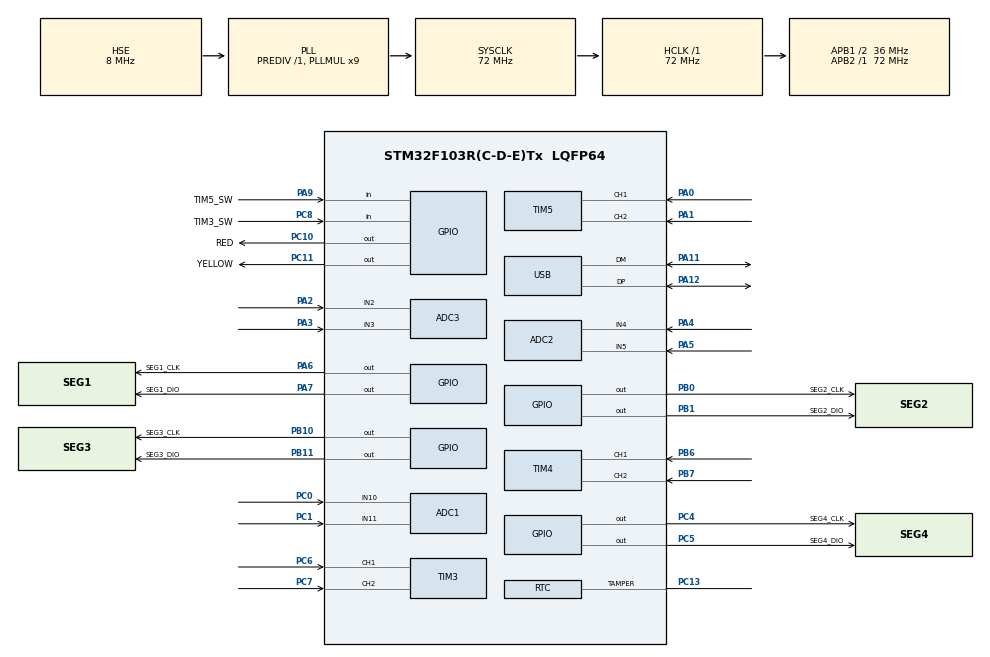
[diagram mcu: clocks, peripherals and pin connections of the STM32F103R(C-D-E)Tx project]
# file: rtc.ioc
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ADC1.Channel-1\#ChannelRegularConversion=ADC_CHANNEL_10
ADC1.ContinuousConvMode=ENABLE
ADC1.NbrOfConversion=1
ADC1.NbrOfConversionFlag=1
ADC1.Rank-1\#ChannelRegularConversion=1
ADC1.SamplingTime-1\#ChannelRegularConversion=ADC_SAMPLETIME_71CYCLES_5
ADC1.master=1
ADC2.Channel-3\#ChannelRegularConversion=ADC_CHANNEL_4
ADC2.NbrOfConversionFlag=1
ADC2.Rank-3\#ChannelRegularConversion=1
ADC2.SamplingTime-3\#ChannelRegularConversion=ADC_SAMPLETIME_1CYCLE_5
ADC3.Channel-3\#ChannelRegularConversion=ADC_CHANNEL_2
ADC3.NbrOfConversionFlag=1
ADC3.Rank-3\#ChannelRegularConversion=1
ADC3.SamplingTime-3\#ChannelRegularConversion=ADC_SAMPLETIME_1CYCLE_5
Mcu.Family=STM32F1
Mcu.Name=STM32F103R(C-D-E)Tx
Mcu.Package=LQFP64
NVIC.PriorityGroup=NVIC_PRIORITYGROUP_4
NVIC.RTC_IRQn=true\:0\:0\:false\:false\:true\:true\:true
NVIC.TIM3_IRQn=true\:0\:0\:false\:false\:true\:true\:true
NVIC.TIM4_IRQn=true\:0\:0\:false\:false\:true\:true\:true
NVIC.USB_LP_CAN1_RX0_IRQn=true\:0\:0\:false\:false\:true\:false\:true
PA0-WKUP.Signal=S_TIM5_CH1
PA1.Signal=S_TIM5_CH2
PA11.Mode=Device
PA11.Signal=USB_DM
PA12.Mode=Device
PA12.Signal=USB_DP
PA13.Mode=Trace_Asynchronous_SW
PA13.Signal=SYS_JTMS-SWDIO
PA14.Mode=Trace_Asynchronous_SW
PA14.Signal=SYS_JTCK-SWCLK
PA2.Signal=ADCx_IN2
PA3.Signal=ADCx_IN3
PA4.Signal=ADCx_IN4
PA5.Signal=ADCx_IN5
PA6.GPIO_Label=SEG1_CLK
PA6.GPIO_ModeDefaultOutputPP=GPIO_MODE_OUTPUT_OD
PA6.GPIO_PuPd=GPIO_PULLUP
PA6.GPIO_Speed=GPIO_SPEED_FREQ_HIGH
PA6.Signal=GPIO_Output
PA7.GPIO_Label=SEG1_DIO
PA7.GPIO_ModeDefaultOutputPP=GPIO_MODE_OUTPUT_OD
PA7.GPIO_PuPd=GPIO_PULLUP
PA7.GPIO_Speed=GPIO_SPEED_FREQ_HIGH
PA7.Signal=GPIO_Output
PA9.GPIO_Label=TIM5_SW
PA9.GPIO_PuPd=GPIO_PULLUP
PA9.Signal=GPIO_Input
PB0.GPIO_Label=SEG2_CLK
PB0.GPIO_ModeDefaultOutputPP=GPIO_MODE_OUTPUT_OD
PB0.GPIO_PuPd=GPIO_PULLUP
PB0.GPIO_Speed=GPIO_SPEED_FREQ_HIGH
PB0.Signal=GPIO_Output
PB1.GPIO_Label=SEG2_DIO
PB1.GPIO_ModeDefaultOutputPP=GPIO_MODE_OUTPUT_OD
PB1.GPIO_PuPd=GPIO_PULLUP
PB1.GPIO_Speed=GPIO_SPEED_FREQ_HIGH
PB1.Signal=GPIO_Output
PB10.GPIO_Label=SEG3_CLK
PB10.GPIO_ModeDefaultOutputPP=GPIO_MODE_OUTPUT_OD
PB10.GPIO_PuPd=GPIO_PULLUP
PB10.GPIO_Speed=GPIO_SPEED_FREQ_HIGH
PB10.Signal=GPIO_Output
PB11.GPIO_Label=SEG3_DIO
PB11.GPIO_ModeDefaultOutputPP=GPIO_MODE_OUTPUT_OD
PB11.GPIO_PuPd=GPIO_PULLUP
PB11.GPIO_Speed=GPIO_SPEED_FREQ_HIGH
PB11.Signal=GPIO_Output
PB3.Mode=Trace_Asynchronous_SW
PB3.Signal=SYS_JTDO-TRACESWO
PB6.Signal=S_TIM4_CH1
PB7.Signal=S_TIM4_CH2
PC0.Signal=ADCx_IN10
PC1.Signal=ADCx_IN11
PC10.GPIO_Label=RED
PC10.GPIO_PuPd=GPIO_PULLUP
PC10.Signal=GPIO_Output
PC11.GPIO_Label=YELLOW
PC11.GPIO_PuPd=GPIO_PULLUP
PC11.Signal=GPIO_Output
PC13-TAMPER-RTC.Mode=Tamper
PC13-TAMPER-RTC.Signal=RTC_TAMPER
PC14-OSC32_IN.Mode=LSE-External-Oscillator
PC14-OSC32_IN.Signal=RCC_OSC32_IN
PC15-OSC32_OUT.Mode=LSE-External-Oscillator
PC15-OSC32_OUT.Signal=RCC_OSC32_OUT
PC4.GPIO_Label=SEG4_CLK
PC4.GPIO_ModeDefaultOutputPP=GPIO_MODE_OUTPUT_OD
PC4.GPIO_PuPd=GPIO_PULLUP
PC4.GPIO_Speed=GPIO_SPEED_FREQ_HIGH
PC4.Signal=GPIO_Output
PC5.GPIO_Label=SEG4_DIO
PC5.GPIO_ModeDefaultOutputPP=GPIO_MODE_OUTPUT_OD
PC5.GPIO_PuPd=GPIO_PULLUP
PC5.GPIO_Speed=GPIO_SPEED_FREQ_HIGH
PC5.Signal=GPIO_Output
PC6.Signal=S_TIM3_CH1
PC7.Signal=S_TIM3_CH2
PC8.GPIO_Label=TIM3_SW
PC8.GPIO_PuPd=GPIO_PULLUP
PC8.Signal=GPIO_Input
PD0-OSC_IN.Mode=HSE-External-Oscillator
PD0-OSC_IN.Signal=RCC_OSC_IN
PD1-OSC_OUT.Mode=HSE-External-Oscillator
PD1-OSC_OUT.Signal=RCC_OSC_OUT
ProjectManager.HeapSize=0x200
ProjectManager.StackSize=0x400
ProjectManager.TargetToolchain=Makefile
RCC.ADCPresc=RCC_ADCPCLK2_DIV8
RCC.AHBFreq_Value=72000000
RCC.APB1CLKDivider=RCC_HCLK_DIV2
RCC.APB1Freq_Value=36000000
RCC.APB1TimFreq_Value=72000000
RCC.APB2Freq_Value=72000000
RCC.APB2TimFreq_Value=72000000
RCC.HCLKFreq_Value=72000000
RCC.PLLMUL=RCC_PLL_MUL9
RCC.PLLSourceVirtual=RCC_PLLSOURCE_HSE
RCC.SYSCLKFreq_VALUE=72000000
RCC.SYSCLKSource=RCC_SYSCLKSOURCE_PLLCLK
RCC.USBFreq_Value=48000000
RCC.USBPrescaler=RCC_USBCLKSOURCE_PLL_DIV1_5
RTC.Format=RTC_FORMAT_BIN
SH.ADCx_IN10.0=ADC1_IN10,IN10
SH.ADCx_IN11.0=ADC1_IN11,IN11
SH.ADCx_IN2.0=ADC3_IN2,IN2
SH.ADCx_IN3.0=ADC3_IN3,IN3
SH.ADCx_IN4.0=ADC2_IN4,IN4
SH.ADCx_IN5.0=ADC2_IN5,IN5
SH.S_TIM3_CH1.0=TIM3_CH1,Encoder_Interface
SH.S_TIM3_CH2.0=TIM3_CH2,Encoder_Interface
SH.S_TIM4_CH1.0=TIM4_CH1,Encoder_Interface
SH.S_TIM4_CH2.0=TIM4_CH2,Encoder_Interface
SH.S_TIM5_CH1.0=TIM5_CH1,Encoder_Interface
SH.S_TIM5_CH2.0=TIM5_CH2,Encoder_Interface
TIM3.IC1Filter=10
USB_DEVICE.CLASS_NAME_FS=CDC
USB_DEVICE.USBD_DEBUG_LEVEL=3
USB_DEVICE.VirtualMode=Cdc
USB_DEVICE.VirtualModeFS=Cdc_FS
VP_RTC_VS_RTC_Activate.Mode=RTC_Enabled
VP_USB_DEVICE_VS_USB_DEVICE_CDC_FS.Mode=CDC_FS
board=custom

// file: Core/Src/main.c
/* USER CODE BEGIN Header */
/**
  ******************************************************************************
  * @file           : main.c
  * @brief          : Main program body
  ******************************************************************************
  * @attention
  *
  * <h2><center>&copy; Copyright (c) 2020 STMicroelectronics.
  * All rights reserved.</center></h2>
  *
  * This software component is licensed by ST under BSD 3-Clause license,
  * the "License"; You may not use this file except in compliance with the
  * License. You may obtain a copy of the License at:
  *                        opensource.org/licenses/BSD-3-Clause
  *
  ******************************************************************************
  */
/* USER CODE END Header */
#include "main.h"
#include "adc.h"
#include "rtc.h"
#include "tim.h"
#include "usb_device.h"
#include "gpio.h"

/* USER CODE BEGIN Includes */
#include "usbd_cdc_if.h"
#include "string.h"
#include "TM1637.h"
/* USER CODE END Includes */

/* USER CODE BEGIN PTD */
enum MODE {
  DISP_TIME = 0,
  DISP_DATE,
  MODIFY_SECOND,
  MODIFY_MINUTE,
  MODIFY_HOUR,
  MODIFY_DATE,
  MODIFY_MONTH,
  MODIFY_YEAR,
  DISP_ADC1,
  //INSERT BEFORE
  CNT_RTC_MODE,
};
/* USER CODE END PTD */

/* USER CODE BEGIN PM */
#define ADC_ARRAY_SIZE 128

/* USER CODE END PM */

/* USER CODE BEGIN PV */
uint8_t mode = 0;
TM1637_InstDef tm1637 = {GPIOA, GPIO_PIN_6, GPIO_PIN_7, 6};
char buffer[64] = {0};
uint32_t adc1_array[ADC_ARRAY_SIZE] = {0};
uint8_t adc1_index = 0;

/* USER CODE END PV */

void SystemClock_Config(void);

/* USER CODE BEGIN PFP */
uint32_t ConvertADC(ADC_HandleTypeDef* hadc) {
  HAL_ADC_Start(hadc);
  HAL_ADC_PollForConversion(hadc, 0xffff);
  uint32_t value = HAL_ADC_GetValue(hadc);
  HAL_ADC_Stop(hadc);
  return value;
}

void UpdateDisplay(uint8_t mode, RTC_DateTypeDef date, RTC_TimeTypeDef time){
  int blink = (HAL_GetTick() / 200) % 2 > 0 ? 0xFF : 0;
  char raw[6] = {0};
  adc1_index %= ADC_ARRAY_SIZE;
  adc1_array[adc1_index++] = ConvertADC(&hadc1);
  uint32_t adc1_avg = 0;
  for (uint8_t i = 0;i<ADC_ARRAY_SIZE;i++){
      adc1_avg += adc1_array[i];
  }
  adc1_avg /= ADC_ARRAY_SIZE;

  switch (mode)
  {
  case DISP_TIME:
  case MODIFY_SECOND:
  case MODIFY_MINUTE:
  case MODIFY_HOUR:
    raw[0] = mode != MODIFY_SECOND ? segmentMap[time.Seconds%10] : segmentMap[time.Seconds%10] & blink;
    raw[1] = mode != MODIFY_SECOND ? segmentMap[time.Seconds/10] : segmentMap[time.Seconds/10] & blink;
    raw[2] = mode != MODIFY_MINUTE ? segmentMap[time.Minutes%10] | (1<<7) : segmentMap[time.Minutes%10] & blink | (1<<7);
    raw[3] = mode != MODIFY_MINUTE ? segmentMap[time.Minutes/10] : segmentMap[time.Minutes/10] & blink;
    raw[4] = mode != MODIFY_HOUR ? segmentMap[time.Hours%10] | (1<<7) : segmentMap[time.Hours%10] & blink | (1<<7);
    raw[5] = mode != MODIFY_HOUR ? segmentMap[time.Hours/10] : segmentMap[time.Hours/10] & blink;
    break;
  case DISP_DATE:
  case MODIFY_DATE:
  case MODIFY_MONTH:
  case MODIFY_YEAR:
    raw[0] = mode != MODIFY_DATE ? segmentMap[date.Date%10] : segmentMap[date.Date%10] & blink;
    raw[1] = mode != MODIFY_DATE ? segmentMap[date.Date/10] : segmentMap[date.Date/10] & blink;
    raw[2] = mode != MODIFY_MONTH ? segmentMap[date.Month%10] | (1<<7) : segmentMap[date.Month%10] & blink | (1<<7);
    raw[3] = mode != MODIFY_MONTH ? segmentMap[date.Month/10] : segmentMap[date.Month/10] & blink;
    raw[4] = mode != MODIFY_YEAR ? segmentMap[date.Year%10] : segmentMap[date.Year%10] & blink | (1<<7);
    raw[5] = mode != MODIFY_YEAR ? segmentMap[date.Year/10] : segmentMap[date.Year/10] & blink;
    break;
  case DISP_ADC1:
    raw[0] = segmentMap[adc1_avg % 10];
    raw[1] = segmentMap[adc1_avg / 10 % 10];
    raw[2] = segmentMap[adc1_avg / 100  % 10];
    raw[3] = segmentMap[adc1_avg / 1000  % 10];
    raw[4] = segmentMap[adc1_avg / 10000  % 10];
    raw[5] = segmentMap[adc1_avg / 100000  % 10];
    break;
  default:
    break;
  }
  tm1637_DisplayRaw(&tm1637, raw, sizeof(raw));
}

/* USER CODE END PFP */

int main(void)
{

  /* MCU Configuration--------------------------------------------------------*/

  /* Reset of all peripherals, Initializes the Flash interface and the Systick. */
  HAL_Init();

  /* Configure the system clock */
  SystemClock_Config();

  /* Initialize all configured peripherals */
  MX_GPIO_Init();
  MX_RTC_Init();
  MX_USB_DEVICE_Init();
  MX_TIM3_Init();
  MX_TIM4_Init();
  MX_TIM5_Init();
  MX_ADC1_Init();
  MX_ADC2_Init();
  MX_ADC3_Init();
  /* USER CODE BEGIN 2 */
  RTC_First_Init(&hrtc);
  HAL_TIM_Encoder_Start(&htim3, TIM_CHANNEL_ALL);

  RTC_TimeTypeDef time = {0};
  RTC_DateTypeDef date = {0};

  tm1637_Init(&tm1637);

  GPIO_PinState tim3_sw_last_state = HAL_GPIO_ReadPin(TIM3_SW_GPIO_Port, TIM3_SW_Pin);

  int16_t diff_last = 0;

  HAL_GPIO_WritePin(RED_GPIO_Port, RED_Pin, GPIO_PIN_SET);
  HAL_GPIO_WritePin(YELLOW_GPIO_Port, YELLOW_Pin, GPIO_PIN_RESET);

  /* USER CODE END 2 */

  /* Infinite loop */
  while (1)
  {

    /* USER CODE BEGIN 3 */
    uint32_t tick = HAL_GetTick();
    HAL_GPIO_WritePin(RED_GPIO_Port, RED_Pin, tick / 100 % 2);
    HAL_GPIO_WritePin(YELLOW_GPIO_Port, YELLOW_Pin, !(tick / 100 % 2));

    GPIO_PinState tim3_sw = HAL_GPIO_ReadPin(TIM3_SW_GPIO_Port, TIM3_SW_Pin);
    if (tim3_sw != tim3_sw_last_state) {
      if (tim3_sw == GPIO_PIN_SET)
      {
        htim3.Instance->CNT = 0;
        diff_last = htim3.Instance->CNT;
        mode++;
        mode %= CNT_RTC_MODE;
        sprintf(buffer, "mode = %d\r\n", mode);
        CDC_Transmit_FS(buffer, strlen(buffer));
      }
      tim3_sw_last_state = tim3_sw;
    }

    HAL_RTC_GetDate(&hrtc, &date, RTC_FORMAT_BIN);
    HAL_RTC_GetTime(&hrtc, &time, RTC_FORMAT_BIN);

    int16_t diff = htim3.Instance->CNT;
    diff /= 4;
    if (diff != diff_last) {
      sprintf(buffer, "CNT = %d, DIFF= %d\r\n", htim3.Instance->CNT, diff);
      CDC_Transmit_FS(buffer, strlen(buffer));
      switch (mode)
      {
      case MODIFY_SECOND:
        time.Seconds = (time.Seconds + 60 + diff) % 60;
        break;
      case MODIFY_MINUTE:
        time.Minutes = (time.Minutes + 60 + diff) % 60;
        break;
      case MODIFY_HOUR:
        time.Hours = (time.Hours + 24 + diff) % 24;
        break;
      case MODIFY_DATE:
        date.Date = (date.Date + 31 + diff) % 31;
        break;
      case MODIFY_MONTH:
        date.Month = (date.Month + 12 + diff) % 12;
        break;
      case MODIFY_YEAR:
        date.Year = (date.Year + 100 + diff) % 100;
        break;
      default:
        break;
      }
      htim3.Instance->CNT = 0;
      HAL_RTC_SetDate(&hrtc, &date, RTC_FORMAT_BIN);
      HAL_RTC_SetTime(&hrtc, &time, RTC_FORMAT_BIN);
      diff_last = htim3.Instance->CNT;
    }

    UpdateDisplay(mode, date, time);
  }
  /* USER CODE END 3 */
}

void SystemClock_Config(void)
{
  RCC_OscInitTypeDef RCC_OscInitStruct = {0};
  RCC_ClkInitTypeDef RCC_ClkInitStruct = {0};
  RCC_PeriphCLKInitTypeDef PeriphClkInit = {0};

  /** Initializes the RCC Oscillators according to the specified parameters
  * in the RCC_OscInitTypeDef structure.
  */
  RCC_OscInitStruct.OscillatorType = RCC_OSCILLATORTYPE_LSI|RCC_OSCILLATORTYPE_HSE;
  RCC_OscInitStruct.HSEState = RCC_HSE_ON;
  RCC_OscInitStruct.HSEPredivValue = RCC_HSE_PREDIV_DIV1;
  RCC_OscInitStruct.HSIState = RCC_HSI_ON;
  RCC_OscInitStruct.LSIState = RCC_LSI_ON;
  RCC_OscInitStruct.PLL.PLLState = RCC_PLL_ON;
  RCC_OscInitStruct.PLL.PLLSource = RCC_PLLSOURCE_HSE;
  RCC_OscInitStruct.PLL.PLLMUL = RCC_PLL_MUL9;
  if (HAL_RCC_OscConfig(&RCC_OscInitStruct) != HAL_OK)
  {
    Error_Handler();
  }
  /** Initializes the CPU, AHB and APB buses clocks
  */
  RCC_ClkInitStruct.ClockType = RCC_CLOCKTYPE_HCLK|RCC_CLOCKTYPE_SYSCLK
                              |RCC_CLOCKTYPE_PCLK1|RCC_CLOCKTYPE_PCLK2;
  RCC_ClkInitStruct.SYSCLKSource = RCC_SYSCLKSOURCE_PLLCLK;
  RCC_ClkInitStruct.AHBCLKDivider = RCC_SYSCLK_DIV1;
  RCC_ClkInitStruct.APB1CLKDivider = RCC_HCLK_DIV2;
  RCC_ClkInitStruct.APB2CLKDivider = RCC_HCLK_DIV1;

  if (HAL_RCC_ClockConfig(&RCC_ClkInitStruct, FLASH_LATENCY_2) != HAL_OK)
  {
    Error_Handler();
  }
  PeriphClkInit.PeriphClockSelection = RCC_PERIPHCLK_RTC|RCC_PERIPHCLK_ADC
                              |RCC_PERIPHCLK_USB;
  PeriphClkInit.RTCClockSelection = RCC_RTCCLKSOURCE_LSI;
  PeriphClkInit.AdcClockSelection = RCC_ADCPCLK2_DIV8;
  PeriphClkInit.UsbClockSelection = RCC_USBCLKSOURCE_PLL_DIV1_5;
  if (HAL_RCCEx_PeriphCLKConfig(&PeriphClkInit) != HAL_OK)
  {
    Error_Handler();
  }
}

void Error_Handler(void)
{
}

/************************ (C) COPYRIGHT STMicroelectronics *****END OF FILE****/
